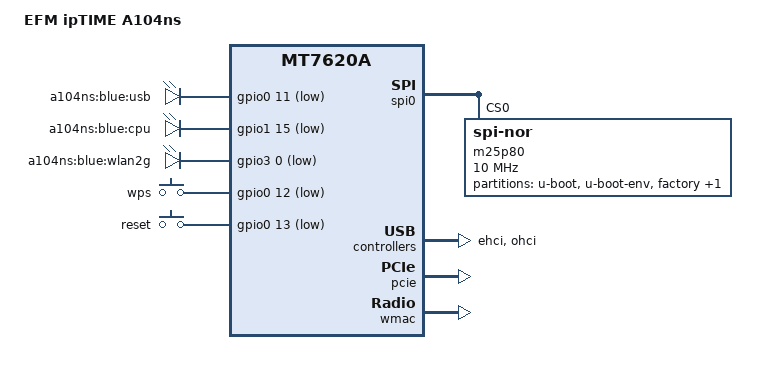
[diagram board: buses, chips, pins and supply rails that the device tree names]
/dts-v1/;

#include "mt7620a.dtsi"

#include <dt-bindings/gpio/gpio.h>
#include <dt-bindings/input/input.h>

/ {
	compatible = "iptime,a104ns", "ralink,mt7620a-soc";
	model = "EFM ipTIME A104ns";

	gpio-leds {
		compatible = "gpio-leds";

		usb {
			label = "a104ns:blue:usb";
			gpios = <&gpio0 11 GPIO_ACTIVE_LOW>;
		};

		cpu {
			label = "a104ns:blue:cpu";
			gpios = <&gpio1 15 GPIO_ACTIVE_LOW>;
		};

		wlan2g {
			label = "a104ns:blue:wlan2g";
			gpios = <&gpio3 0 GPIO_ACTIVE_LOW>;
		};
	};

	gpio-keys-polled {
		compatible = "gpio-keys-polled";
		#address-cells = <1>;
		#size-cells = <0>;
		poll-interval = <20>;

		wps {
			label = "wps";
			gpios = <&gpio0 12 GPIO_ACTIVE_LOW>;
			linux,code = <KEY_WPS_BUTTON>;
		};

		reset {
			label = "reset";
			gpios = <&gpio0 13 GPIO_ACTIVE_LOW>;
			linux,code = <KEY_RESTART>;
		};
	};
};

&gpio0 {
	status = "okay";
};

&gpio1 {
	status = "okay";
};

&gpio3 {
	status = "okay";
};

&spi0 {
	status = "okay";

	m25p80@0 {
		#address-cells = <1>;
		#size-cells = <1>;
		compatible = "jedec,spi-nor";
		reg = <0>;
		spi-max-frequency = <10000000>;

		partition@0 {
			label = "u-boot";
			reg = <0x0 0x20000>;
			read-only;
		};

		partition@20000 {
			label = "u-boot-env";
			reg = <0x20000 0x10000>;
			read-only;
		};

		factory: partition@1f000 {
			label = "factory";
			reg = <0x1f000 0x1000>;
			read-only;
		};

		partition@30000 {
			label = "firmware";
			reg = <0x30000 0x7d0000>;
		};
	};
};

&pinctrl {
	state_default: pinctrl0 {
		gpio {
			ralink,group = "uartf", "spi refclk", "wled";
			ralink,function = "gpio";
		};
	};
};

&ethernet {
	mtd-mac-address = <&factory 0xc20>;
	mtd-mac-address-increment = <1>;
};

&ehci {
	status = "okay";
};

&ohci {
	status = "okay";
};

&pcie {
	status = "okay";

	/* MT7610EN is not supported by mt76 on OpenWrt 18.06.1! */
	pcie-bridge {
		mt76@1,0 {
			reg = <0x0000 0 0 0 0>;
			device_type = "pci";
			mediatek,mtd-eeprom = <&factory 0x800>;
			ieee80211-freq-limit = <5000000 6000000>;
		};
	};
};

&wmac {
	ralink,mtd-eeprom = <&factory 0x400>;
};
